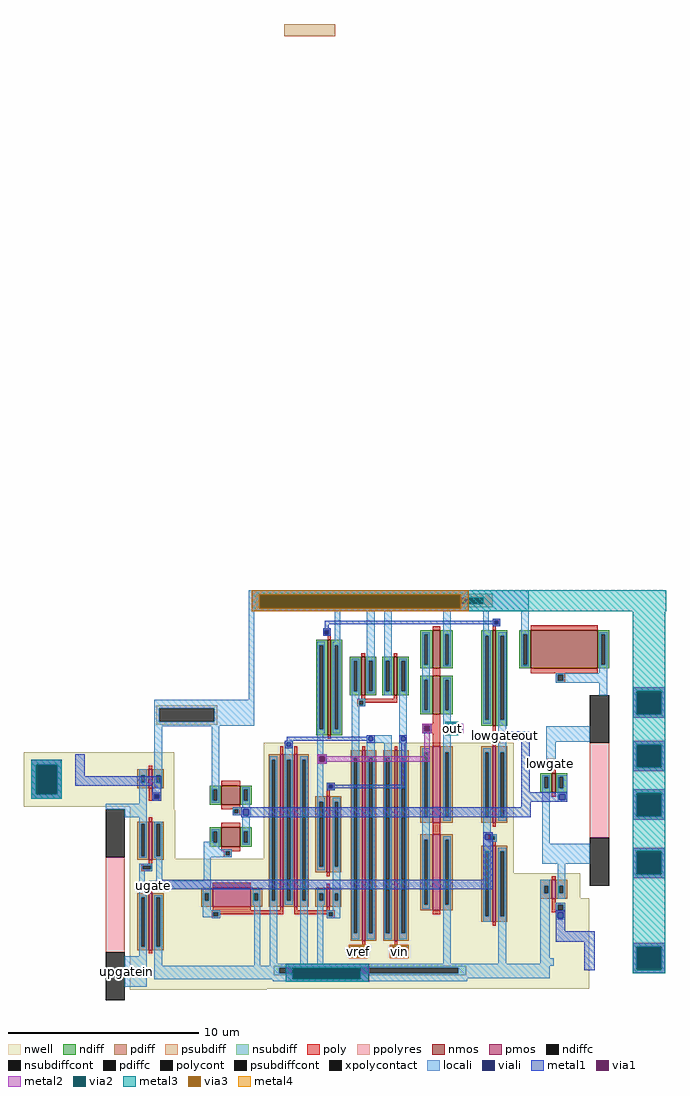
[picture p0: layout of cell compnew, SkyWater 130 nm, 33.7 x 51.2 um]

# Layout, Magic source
magic
tech sky130A
<< nwell >>
rect -586 1980 204 2265
rect -31 1960 204 1980
rect -31 1705 209 1960
rect 674 1705 1984 2315
rect -31 1630 1984 1705
rect -31 1500 2334 1630
rect -31 1025 2379 1500
rect -31 1020 689 1025
<< nmos >>
rect 1009 2355 1024 2855
rect 1184 2565 1204 2765
rect 1354 2565 1374 2765
rect 1559 2705 1599 2905
rect 1559 2465 1599 2665
rect 1874 2405 1889 2905
rect 2074 2705 2424 2905
rect 449 1990 549 2090
rect 449 1770 549 1870
rect 2184 2055 2204 2155
<< pmos >>
rect 69 2075 89 2175
rect 69 1700 89 1900
rect 69 1225 89 1525
rect 404 1455 604 1555
rect 759 1455 774 2255
rect 834 1455 849 2255
rect 1004 1635 1019 2035
rect 1004 1455 1019 1555
rect 1189 1275 1204 2275
rect 1359 1275 1374 2275
rect 1559 1895 1599 2295
rect 1874 1895 1889 2295
rect 1559 1435 1599 1835
rect 1874 1375 1889 1775
rect 2184 1495 2204 1595
<< ndiff >>
rect 1494 2885 1559 2905
rect 949 2825 1009 2855
rect 949 2385 964 2825
rect 984 2385 1009 2825
rect 949 2355 1009 2385
rect 1024 2825 1084 2855
rect 1024 2385 1044 2825
rect 1064 2385 1084 2825
rect 1124 2745 1184 2765
rect 1124 2585 1144 2745
rect 1164 2585 1184 2745
rect 1124 2565 1184 2585
rect 1204 2745 1264 2765
rect 1204 2585 1224 2745
rect 1244 2585 1264 2745
rect 1204 2565 1264 2585
rect 1294 2745 1354 2765
rect 1294 2585 1314 2745
rect 1334 2585 1354 2745
rect 1294 2565 1354 2585
rect 1374 2745 1434 2765
rect 1374 2585 1394 2745
rect 1414 2585 1434 2745
rect 1494 2725 1514 2885
rect 1534 2725 1559 2885
rect 1494 2705 1559 2725
rect 1599 2885 1664 2905
rect 1599 2725 1624 2885
rect 1644 2725 1664 2885
rect 1599 2705 1664 2725
rect 1814 2875 1874 2905
rect 1374 2565 1434 2585
rect 1494 2645 1559 2665
rect 1494 2485 1514 2645
rect 1534 2485 1559 2645
rect 1494 2465 1559 2485
rect 1599 2645 1664 2665
rect 1599 2485 1624 2645
rect 1644 2485 1664 2645
rect 1599 2465 1664 2485
rect 1024 2355 1084 2385
rect 1814 2435 1834 2875
rect 1854 2435 1874 2875
rect 1814 2405 1874 2435
rect 1889 2875 1949 2905
rect 1889 2435 1914 2875
rect 1934 2435 1949 2875
rect 2014 2885 2074 2905
rect 2014 2725 2034 2885
rect 2054 2725 2074 2885
rect 2014 2705 2074 2725
rect 2424 2885 2484 2905
rect 2424 2725 2444 2885
rect 2464 2725 2484 2885
rect 2424 2705 2484 2725
rect 1889 2405 1949 2435
rect 389 2070 449 2090
rect 389 2010 409 2070
rect 429 2010 449 2070
rect 389 1990 449 2010
rect 549 2070 609 2090
rect 549 2010 569 2070
rect 589 2010 609 2070
rect 549 1990 609 2010
rect 389 1850 449 1870
rect 389 1790 409 1850
rect 429 1790 449 1850
rect 389 1770 449 1790
rect 549 1850 609 1870
rect 549 1790 569 1850
rect 589 1790 609 1850
rect 549 1770 609 1790
rect 2124 2135 2184 2155
rect 2124 2075 2144 2135
rect 2164 2075 2184 2135
rect 2124 2055 2184 2075
rect 2204 2135 2264 2155
rect 2204 2075 2224 2135
rect 2244 2075 2264 2135
rect 2204 2055 2264 2075
<< pdiff >>
rect 699 2225 759 2255
rect 9 2145 69 2175
rect 9 2105 29 2145
rect 49 2105 69 2145
rect 9 2075 69 2105
rect 89 2145 149 2175
rect 89 2105 109 2145
rect 129 2105 149 2145
rect 89 2075 149 2105
rect 9 1890 69 1900
rect 9 1720 29 1890
rect 49 1720 69 1890
rect 9 1700 69 1720
rect 89 1890 149 1900
rect 89 1720 109 1890
rect 129 1720 149 1890
rect 89 1700 149 1720
rect 344 1525 404 1555
rect 9 1505 69 1525
rect 9 1245 29 1505
rect 49 1245 69 1505
rect 9 1225 69 1245
rect 89 1505 149 1525
rect 89 1245 109 1505
rect 129 1245 149 1505
rect 344 1485 364 1525
rect 384 1485 404 1525
rect 344 1455 404 1485
rect 604 1525 664 1555
rect 604 1485 624 1525
rect 644 1485 664 1525
rect 604 1455 664 1485
rect 699 1485 714 2225
rect 734 1485 759 2225
rect 699 1455 759 1485
rect 774 2225 834 2255
rect 774 1485 794 2225
rect 814 1485 834 2225
rect 774 1455 834 1485
rect 849 2225 909 2255
rect 849 1485 874 2225
rect 894 1485 909 2225
rect 1129 2235 1189 2275
rect 944 2005 1004 2035
rect 944 1665 964 2005
rect 984 1665 1004 2005
rect 944 1635 1004 1665
rect 1019 2005 1079 2035
rect 1019 1665 1044 2005
rect 1064 1665 1079 2005
rect 1019 1635 1079 1665
rect 849 1455 909 1485
rect 944 1525 1004 1555
rect 944 1485 964 1525
rect 984 1485 1004 1525
rect 944 1455 1004 1485
rect 1019 1525 1079 1555
rect 1019 1485 1044 1525
rect 1064 1485 1079 1525
rect 1019 1455 1079 1485
rect 1129 1315 1144 2235
rect 1164 1315 1189 2235
rect 1129 1275 1189 1315
rect 1204 2235 1264 2275
rect 1204 1315 1224 2235
rect 1244 1315 1264 2235
rect 1204 1275 1264 1315
rect 1299 2235 1359 2275
rect 1299 1315 1314 2235
rect 1334 1315 1359 2235
rect 1299 1275 1359 1315
rect 1374 2235 1434 2275
rect 1374 1315 1394 2235
rect 1414 1315 1434 2235
rect 1494 2265 1559 2295
rect 1494 1925 1514 2265
rect 1534 1925 1559 2265
rect 1494 1895 1559 1925
rect 1599 2265 1664 2295
rect 1599 1925 1624 2265
rect 1644 1925 1664 2265
rect 1599 1895 1664 1925
rect 1814 2265 1874 2295
rect 1814 1925 1834 2265
rect 1854 1925 1874 2265
rect 1814 1895 1874 1925
rect 1889 2265 1949 2295
rect 1889 1925 1914 2265
rect 1934 1925 1949 2265
rect 1889 1895 1949 1925
rect 1494 1805 1559 1835
rect 1494 1465 1514 1805
rect 1534 1465 1559 1805
rect 1494 1435 1559 1465
rect 1599 1805 1664 1835
rect 1599 1465 1624 1805
rect 1644 1465 1664 1805
rect 1599 1435 1664 1465
rect 1814 1745 1874 1775
rect 1814 1405 1834 1745
rect 1854 1405 1874 1745
rect 1814 1375 1874 1405
rect 1889 1745 1949 1775
rect 1889 1405 1914 1745
rect 1934 1405 1949 1745
rect 2124 1565 2184 1595
rect 2124 1525 2144 1565
rect 2164 1525 2184 1565
rect 2124 1495 2184 1525
rect 2204 1565 2264 1595
rect 2204 1525 2224 1565
rect 2244 1525 2264 1565
rect 2204 1495 2264 1525
rect 1889 1375 1949 1405
rect 1374 1275 1434 1315
rect 89 1225 149 1245
<< ndiffc >>
rect 964 2385 984 2825
rect 1044 2385 1064 2825
rect 1144 2585 1164 2745
rect 1224 2585 1244 2745
rect 1314 2585 1334 2745
rect 1394 2585 1414 2745
rect 1514 2725 1534 2885
rect 1624 2725 1644 2885
rect 1514 2485 1534 2645
rect 1624 2485 1644 2645
rect 1834 2435 1854 2875
rect 1914 2435 1934 2875
rect 2034 2725 2054 2885
rect 2444 2725 2464 2885
rect 409 2010 429 2070
rect 569 2010 589 2070
rect 409 1790 429 1850
rect 569 1790 589 1850
rect 2144 2075 2164 2135
rect 2224 2075 2244 2135
<< pdiffc >>
rect 29 2105 49 2145
rect 109 2105 129 2145
rect 29 1720 49 1890
rect 109 1720 129 1890
rect 29 1245 49 1505
rect 109 1245 129 1505
rect 364 1485 384 1525
rect 624 1485 644 1525
rect 714 1485 734 2225
rect 794 1485 814 2225
rect 874 1485 894 2225
rect 964 1665 984 2005
rect 1044 1665 1064 2005
rect 964 1485 984 1525
rect 1044 1485 1064 1525
rect 1144 1315 1164 2235
rect 1224 1315 1244 2235
rect 1314 1315 1334 2235
rect 1394 1315 1414 2235
rect 1514 1925 1534 2265
rect 1624 1925 1644 2265
rect 1834 1925 1854 2265
rect 1914 1925 1934 2265
rect 1514 1465 1534 1805
rect 1624 1465 1644 1805
rect 1834 1405 1854 1745
rect 1914 1405 1934 1745
rect 2144 1525 2164 1565
rect 2224 1525 2244 1565
<< psubdiff >>
rect 779 6020 1049 6085
rect 634 3075 1874 3095
rect 634 3045 684 3075
rect 1824 3045 1874 3075
rect 634 3025 1874 3045
rect 109 2495 429 2510
rect 109 2425 124 2495
rect 414 2425 429 2495
rect 109 2410 429 2425
rect 2609 2585 2779 2605
rect 2609 2465 2629 2585
rect 2759 2465 2779 2585
rect 2609 2445 2779 2465
rect 2609 2305 2779 2325
rect 2609 2185 2629 2305
rect 2759 2185 2779 2305
rect 2609 2165 2779 2185
rect 2609 2050 2779 2070
rect 2609 1930 2629 2050
rect 2759 1930 2779 2050
rect 2609 1910 2779 1930
rect 2609 1745 2779 1765
rect 2609 1625 2629 1745
rect 2759 1625 2779 1745
rect 2609 1605 2779 1625
rect 2609 1245 2779 1265
rect 2609 1125 2629 1245
rect 2759 1125 2779 1245
rect 2609 1105 2779 1125
<< nsubdiff >>
rect -546 2200 -386 2225
rect -546 2045 -521 2200
rect -411 2045 -386 2200
rect -546 2020 -386 2045
rect 724 1135 1734 1145
rect 724 1105 754 1135
rect 1694 1105 1734 1135
rect 724 1095 1734 1105
<< psubdiffcont >>
rect 684 3045 1824 3075
rect 124 2425 414 2495
rect 2629 2465 2759 2585
rect 2629 2185 2759 2305
rect 2629 1930 2759 2050
rect 2629 1625 2759 1745
rect 2629 1125 2759 1245
<< nsubdiffcont >>
rect -521 2045 -411 2200
rect 754 1105 1694 1135
<< poly >>
rect 1874 2955 1914 2965
rect 1874 2935 1884 2955
rect 1904 2935 1914 2955
rect 1874 2925 1914 2935
rect 984 2905 1024 2915
rect 1559 2905 1599 2925
rect 1874 2905 1889 2925
rect 2074 2905 2424 2930
rect 984 2885 994 2905
rect 1014 2885 1024 2905
rect 984 2875 1024 2885
rect 1009 2855 1024 2875
rect 1184 2765 1204 2785
rect 1354 2765 1374 2785
rect 1559 2665 1599 2705
rect 1184 2545 1204 2565
rect 1354 2545 1374 2565
rect 1164 2535 1374 2545
rect 1164 2515 1174 2535
rect 1194 2525 1374 2535
rect 1194 2515 1204 2525
rect 1164 2505 1204 2515
rect 1559 2415 1599 2465
rect 1504 2405 1599 2415
rect 2074 2680 2424 2705
rect 2204 2670 2254 2680
rect 2204 2640 2214 2670
rect 2244 2640 2254 2670
rect 2204 2630 2254 2640
rect 1504 2375 1514 2405
rect 1544 2375 1599 2405
rect 1504 2365 1599 2375
rect 1009 2335 1024 2355
rect 1559 2295 1599 2365
rect 1874 2355 1889 2405
rect 1874 2345 1914 2355
rect 1874 2325 1884 2345
rect 1904 2325 1914 2345
rect 1874 2315 1914 2325
rect 1874 2295 1889 2315
rect 759 2255 774 2295
rect 834 2255 849 2295
rect 1189 2275 1204 2295
rect 1359 2275 1374 2295
rect 69 2175 89 2195
rect 449 2090 549 2115
rect 69 2055 89 2075
rect 69 2045 134 2055
rect 69 2020 99 2045
rect 124 2020 134 2045
rect 69 2010 134 2020
rect 449 1965 549 1990
rect 509 1945 519 1965
rect 539 1945 549 1965
rect 509 1935 549 1945
rect 69 1900 89 1925
rect 449 1870 549 1895
rect 449 1745 549 1770
rect 464 1725 474 1745
rect 494 1725 504 1745
rect 464 1715 504 1725
rect 69 1680 89 1700
rect 29 1670 89 1680
rect 29 1650 39 1670
rect 79 1650 89 1670
rect 29 1640 89 1650
rect 69 1580 119 1590
rect 69 1550 79 1580
rect 109 1550 119 1580
rect 404 1555 604 1580
rect 69 1540 119 1550
rect 69 1525 89 1540
rect 1004 2095 1044 2105
rect 1004 2075 1014 2095
rect 1034 2075 1044 2095
rect 1004 2065 1044 2075
rect 1004 2035 1019 2065
rect 1004 1615 1019 1635
rect 1004 1555 1019 1575
rect 404 1435 604 1455
rect 759 1435 774 1455
rect 399 1425 774 1435
rect 399 1405 409 1425
rect 434 1415 774 1425
rect 834 1435 849 1455
rect 1004 1435 1019 1455
rect 834 1425 1044 1435
rect 834 1415 1014 1425
rect 434 1405 444 1415
rect 399 1395 444 1405
rect 1004 1405 1014 1415
rect 1034 1405 1044 1425
rect 1004 1395 1044 1405
rect 2154 2220 2204 2230
rect 2154 2190 2164 2220
rect 2194 2190 2204 2220
rect 2154 2180 2204 2190
rect 2184 2155 2204 2180
rect 2184 2030 2204 2055
rect 1559 1835 1599 1895
rect 1874 1875 1889 1895
rect 1854 1825 1894 1835
rect 1854 1805 1864 1825
rect 1884 1805 1894 1825
rect 1854 1795 1894 1805
rect 1874 1775 1889 1795
rect 1559 1415 1599 1435
rect 2184 1595 2204 1615
rect 2184 1475 2204 1495
rect 2184 1465 2254 1475
rect 2184 1435 2214 1465
rect 2244 1435 2254 1465
rect 2184 1425 2254 1435
rect 1874 1355 1889 1375
rect 1189 1255 1204 1275
rect 1359 1255 1374 1275
rect 1119 1245 1219 1255
rect 69 1210 89 1225
rect 1119 1195 1129 1245
rect 1209 1195 1219 1245
rect 1119 1185 1219 1195
rect 1334 1245 1434 1255
rect 1334 1195 1344 1245
rect 1424 1195 1434 1245
rect 1334 1185 1434 1195
<< polycont >>
rect 1884 2935 1904 2955
rect 994 2885 1014 2905
rect 1174 2515 1194 2535
rect 2214 2640 2244 2670
rect 1514 2375 1544 2405
rect 1884 2325 1904 2345
rect 99 2020 124 2045
rect 519 1945 539 1965
rect 474 1725 494 1745
rect 39 1650 79 1670
rect 79 1550 109 1580
rect 1014 2075 1034 2095
rect 409 1405 434 1425
rect 1014 1405 1034 1425
rect 2164 2190 2194 2220
rect 1864 1805 1884 1825
rect 2214 1435 2244 1465
rect 1129 1195 1209 1245
rect 1344 1195 1424 1245
<< xpolycontact >>
rect 2384 2315 2484 2565
rect -156 1715 -56 1965
rect 2384 1565 2484 1815
rect -156 965 -56 1215
<< ppolyres >>
rect -156 1215 -56 1715
rect 2384 1815 2484 2315
<< locali >>
rect 594 3090 2064 3115
rect 594 3020 650 3090
rect 1705 3075 2064 3090
rect 1824 3045 2064 3075
rect 1705 3020 2064 3045
rect 594 3005 2064 3020
rect 594 2540 624 3005
rect 984 2905 1024 2915
rect 984 2885 994 2905
rect 1014 2885 1024 2905
rect 984 2875 1024 2885
rect 1044 2845 1074 3005
rect 99 2495 624 2540
rect 99 2425 124 2495
rect 414 2425 624 2495
rect 99 2405 624 2425
rect 954 2825 994 2845
rect 99 2400 439 2405
rect -546 2200 -386 2225
rect -546 2045 -521 2200
rect -411 2045 -386 2200
rect -546 2020 -386 2045
rect 19 2145 59 2175
rect 19 2105 29 2145
rect 49 2105 59 2145
rect 19 1995 59 2105
rect 99 2145 139 2400
rect 99 2105 109 2145
rect 129 2105 139 2145
rect 99 2085 139 2105
rect 109 2075 139 2085
rect 399 2070 439 2400
rect 954 2385 964 2825
rect 984 2385 994 2825
rect 954 2365 994 2385
rect 1034 2825 1074 2845
rect 1034 2385 1044 2825
rect 1064 2385 1074 2825
rect 1034 2365 1074 2385
rect 1134 2745 1174 2755
rect 1134 2585 1144 2745
rect 1164 2585 1174 2745
rect 1134 2545 1174 2585
rect 1214 2745 1254 3005
rect 1214 2585 1224 2745
rect 1244 2585 1254 2745
rect 1214 2575 1254 2585
rect 1304 2745 1344 3005
rect 1504 2885 1544 2895
rect 1304 2585 1314 2745
rect 1334 2585 1344 2745
rect 1304 2565 1344 2585
rect 1384 2745 1424 2755
rect 1384 2585 1394 2745
rect 1414 2585 1424 2745
rect 1134 2535 1204 2545
rect 1134 2515 1174 2535
rect 1194 2515 1204 2535
rect 1134 2505 1204 2515
rect 784 2315 824 2325
rect 784 2295 794 2315
rect 814 2295 824 2315
rect 704 2225 744 2245
rect 89 2045 134 2055
rect 89 2020 99 2045
rect 124 2020 134 2045
rect 89 2010 134 2020
rect 399 2010 409 2070
rect 429 2010 439 2070
rect 399 2000 439 2010
rect 559 2070 599 2080
rect 559 2010 569 2070
rect 589 2010 599 2070
rect -156 1965 59 1995
rect 559 1975 599 2010
rect -56 1925 59 1965
rect 509 1965 604 1975
rect 509 1945 519 1965
rect 539 1945 564 1965
rect 509 1935 564 1945
rect 594 1935 604 1965
rect 554 1925 604 1935
rect 19 1890 59 1925
rect 19 1720 29 1890
rect 49 1720 59 1890
rect 19 1710 59 1720
rect 99 1890 139 1900
rect 99 1720 109 1890
rect 129 1720 139 1890
rect 399 1850 439 1860
rect 399 1795 409 1850
rect 99 1710 139 1720
rect 19 1670 89 1680
rect 19 1650 39 1670
rect 79 1650 89 1670
rect 19 1640 89 1650
rect 19 1515 49 1640
rect 109 1595 139 1710
rect 359 1790 409 1795
rect 429 1790 439 1850
rect 359 1755 439 1790
rect 559 1850 599 1925
rect 559 1790 569 1850
rect 589 1790 599 1850
rect 559 1780 599 1790
rect 359 1745 504 1755
rect 359 1725 474 1745
rect 494 1725 504 1745
rect 359 1715 504 1725
rect 109 1590 189 1595
rect 359 1590 394 1715
rect 69 1585 394 1590
rect 69 1580 149 1585
rect 69 1550 79 1580
rect 109 1555 149 1580
rect 179 1555 394 1585
rect 109 1550 394 1555
rect 69 1545 394 1550
rect 69 1540 139 1545
rect 354 1525 394 1545
rect 19 1505 59 1515
rect 19 1245 29 1505
rect 49 1245 59 1505
rect 19 1195 59 1245
rect -56 1035 59 1195
rect 99 1505 139 1515
rect 99 1245 109 1505
rect 129 1245 139 1505
rect 354 1485 364 1525
rect 384 1485 394 1525
rect 354 1435 394 1485
rect 614 1525 654 1545
rect 614 1485 624 1525
rect 644 1485 654 1525
rect 614 1465 654 1485
rect 354 1425 444 1435
rect 354 1405 409 1425
rect 434 1405 444 1425
rect 354 1400 444 1405
rect 399 1395 444 1400
rect 99 1145 139 1245
rect 624 1145 654 1465
rect 704 1485 714 2225
rect 734 1485 744 2225
rect 704 1155 744 1485
rect 784 2225 824 2295
rect 954 2255 984 2365
rect 954 2245 1004 2255
rect 784 1485 794 2225
rect 814 1485 824 2225
rect 784 1465 824 1485
rect 864 2225 904 2245
rect 864 1485 874 2225
rect 894 1485 904 2225
rect 954 2215 964 2245
rect 994 2215 1004 2245
rect 954 2205 1004 2215
rect 1134 2235 1174 2505
rect 954 2025 984 2205
rect 1004 2095 1044 2105
rect 1004 2075 1014 2095
rect 1034 2075 1044 2095
rect 1004 2065 1044 2075
rect 954 2005 994 2025
rect 954 1665 964 2005
rect 984 1665 994 2005
rect 954 1645 994 1665
rect 1034 2005 1074 2025
rect 1034 1665 1044 2005
rect 1064 1665 1074 2005
rect 864 1155 904 1485
rect 954 1525 994 1545
rect 954 1485 964 1525
rect 984 1485 994 1525
rect 954 1465 994 1485
rect 1034 1525 1074 1665
rect 1034 1485 1044 1525
rect 1064 1485 1074 1525
rect 954 1155 984 1465
rect 1034 1435 1074 1485
rect 1004 1425 1074 1435
rect 1004 1405 1014 1425
rect 1034 1405 1074 1425
rect 1004 1395 1074 1405
rect 1134 1315 1144 2235
rect 1164 1315 1174 2235
rect 1134 1285 1174 1315
rect 1214 2345 1344 2355
rect 1214 2325 1224 2345
rect 1244 2325 1344 2345
rect 1214 2315 1344 2325
rect 1214 2235 1254 2315
rect 1214 1315 1224 2235
rect 1244 1315 1254 2235
rect 1214 1285 1254 1315
rect 1304 2235 1344 2315
rect 1304 1315 1314 2235
rect 1334 1315 1344 2235
rect 1304 1285 1344 1315
rect 1384 2345 1424 2585
rect 1504 2725 1514 2885
rect 1534 2725 1544 2885
rect 1504 2645 1544 2725
rect 1614 2885 1654 3005
rect 1614 2725 1624 2885
rect 1644 2725 1654 2885
rect 1614 2715 1654 2725
rect 1824 2905 1854 3005
rect 1874 2955 1914 2965
rect 1874 2935 1884 2955
rect 1904 2935 1914 2955
rect 1874 2925 1914 2935
rect 1824 2875 1864 2905
rect 1504 2485 1514 2645
rect 1534 2485 1544 2645
rect 1504 2475 1544 2485
rect 1614 2645 1654 2655
rect 1614 2485 1624 2645
rect 1644 2485 1654 2645
rect 1614 2425 1654 2485
rect 1824 2435 1834 2875
rect 1854 2435 1864 2875
rect 1614 2415 1694 2425
rect 1824 2415 1864 2435
rect 1904 2875 1944 2895
rect 1904 2435 1914 2875
rect 1934 2435 1944 2875
rect 2024 2885 2064 3005
rect 2024 2725 2034 2885
rect 2054 2725 2064 2885
rect 2024 2715 2064 2725
rect 2434 2885 2474 2895
rect 2434 2725 2444 2885
rect 2464 2725 2474 2885
rect 2434 2680 2474 2725
rect 2204 2670 2474 2680
rect 2204 2640 2214 2670
rect 2244 2640 2474 2670
rect 2204 2630 2474 2640
rect 2434 2565 2474 2630
rect 2609 2585 2779 2605
rect 1504 2405 1554 2415
rect 1504 2375 1514 2405
rect 1544 2375 1554 2405
rect 1504 2365 1554 2375
rect 1614 2365 1634 2415
rect 1684 2365 1694 2415
rect 1384 2325 1394 2345
rect 1414 2325 1424 2345
rect 1384 2235 1424 2325
rect 1614 2355 1694 2365
rect 1904 2375 1944 2435
rect 1904 2365 1964 2375
rect 1904 2355 1924 2365
rect 1384 1315 1394 2235
rect 1414 1315 1424 2235
rect 1504 2265 1544 2285
rect 1504 1925 1514 2265
rect 1534 1925 1544 2265
rect 1504 1805 1544 1925
rect 1614 2265 1654 2355
rect 1874 2345 1924 2355
rect 1874 2325 1884 2345
rect 1904 2335 1924 2345
rect 1954 2335 1964 2365
rect 1904 2325 1964 2335
rect 1874 2315 1944 2325
rect 1614 1925 1624 2265
rect 1644 1925 1654 2265
rect 1614 1905 1654 1925
rect 1824 2265 1864 2285
rect 1824 1925 1834 2265
rect 1854 1925 1864 2265
rect 1824 1845 1864 1925
rect 1904 2265 1944 2315
rect 1904 1925 1914 2265
rect 1934 1925 1944 2265
rect 2154 2320 2384 2400
rect 2154 2220 2204 2320
rect 2609 2465 2629 2585
rect 2759 2465 2779 2585
rect 2609 2445 2779 2465
rect 2154 2190 2164 2220
rect 2194 2190 2204 2220
rect 2154 2180 2204 2190
rect 2609 2305 2779 2325
rect 2609 2185 2629 2305
rect 2759 2185 2779 2305
rect 2609 2165 2779 2185
rect 1904 1905 1944 1925
rect 2134 2135 2174 2145
rect 2134 2075 2144 2135
rect 2164 2075 2174 2135
rect 1824 1835 1874 1845
rect 1504 1465 1514 1805
rect 1534 1465 1544 1805
rect 1504 1445 1544 1465
rect 1614 1805 1654 1825
rect 1614 1465 1624 1805
rect 1644 1465 1654 1805
rect 1384 1285 1424 1315
rect 1119 1245 1219 1255
rect 1119 1195 1129 1245
rect 1209 1195 1219 1245
rect 1119 1185 1219 1195
rect 1334 1245 1434 1255
rect 1334 1195 1344 1245
rect 1424 1195 1434 1245
rect 1334 1185 1434 1195
rect 1614 1155 1654 1465
rect 1824 1805 1834 1835
rect 1864 1825 1894 1835
rect 1884 1805 1894 1825
rect 1824 1795 1894 1805
rect 1824 1745 1864 1795
rect 2134 1785 2174 2075
rect 2214 2135 2264 2145
rect 2214 2075 2224 2135
rect 2244 2075 2264 2135
rect 2214 2045 2264 2075
rect 2214 2015 2224 2045
rect 2254 2015 2264 2045
rect 2214 2005 2264 2015
rect 2609 2050 2779 2070
rect 2609 1930 2629 2050
rect 2759 1930 2779 2050
rect 2609 1910 2779 1930
rect 1824 1405 1834 1745
rect 1854 1405 1864 1745
rect 1824 1375 1864 1405
rect 1904 1745 1944 1765
rect 1904 1405 1914 1745
rect 1934 1405 1944 1745
rect 2134 1680 2384 1785
rect 1904 1155 1944 1405
rect 2124 1565 2174 1595
rect 2124 1525 2144 1565
rect 2164 1525 2174 1565
rect 2124 1185 2174 1525
rect 2214 1565 2254 1680
rect 2609 1745 2779 1765
rect 2609 1625 2629 1745
rect 2759 1625 2779 1745
rect 2609 1605 2779 1625
rect 2214 1525 2224 1565
rect 2244 1525 2254 1565
rect 2214 1495 2254 1525
rect 2204 1465 2254 1475
rect 2204 1435 2214 1465
rect 2244 1435 2254 1465
rect 2204 1425 2254 1435
rect 2204 1395 2214 1425
rect 2244 1395 2254 1425
rect 2204 1385 2254 1395
rect 2609 1245 2779 1265
rect 2124 1155 2194 1185
rect 704 1145 2194 1155
rect 99 1135 2174 1145
rect 99 1105 754 1135
rect 1694 1105 2174 1135
rect 2609 1125 2629 1245
rect 2759 1125 2779 1245
rect 2609 1105 2779 1125
rect 99 1075 824 1105
rect 1180 1080 2174 1105
rect 1180 1075 1739 1080
rect 721 1063 1739 1075
<< viali >>
rect 650 3075 1705 3090
rect 650 3045 684 3075
rect 684 3045 1705 3075
rect 650 3020 1705 3045
rect 994 2885 1014 2905
rect -521 2045 -411 2200
rect 794 2295 814 2315
rect 99 2020 124 2045
rect 564 1935 594 1965
rect 149 1555 179 1585
rect 964 2215 994 2245
rect 1014 2075 1034 2095
rect 1224 2325 1244 2345
rect 1884 2935 1904 2955
rect 1514 2375 1544 2405
rect 1634 2365 1684 2415
rect 1394 2325 1414 2345
rect 1924 2335 1954 2365
rect 2629 2465 2759 2585
rect 2629 2185 2759 2305
rect 1129 1195 1209 1245
rect 1344 1195 1424 1245
rect 1834 1805 1864 1835
rect 2224 2015 2254 2045
rect 2629 1930 2759 2050
rect 2629 1625 2759 1745
rect 2214 1395 2244 1425
rect 824 1105 1180 1135
rect 2629 1125 2759 1245
rect 824 1075 1180 1105
<< metal1 >>
rect 610 3090 1745 3115
rect 610 3020 650 3090
rect 1705 3020 1745 3090
rect 610 3005 1745 3020
rect 1874 2955 1914 2965
rect 994 2935 1884 2955
rect 1904 2935 1914 2955
rect 994 2915 1014 2935
rect 1874 2925 1914 2935
rect 984 2905 1024 2915
rect 984 2885 994 2905
rect 1014 2885 1024 2905
rect 984 2875 1024 2885
rect 2609 2585 2779 2605
rect 2609 2465 2629 2585
rect 2759 2465 2779 2585
rect 2609 2445 2779 2465
rect 1624 2415 1694 2425
rect 1504 2405 1554 2415
rect 1504 2375 1514 2405
rect 1544 2375 1554 2405
rect 1504 2365 1554 2375
rect 1624 2365 1634 2415
rect 1684 2365 1694 2415
rect 1624 2355 1694 2365
rect 1914 2365 2069 2375
rect 1214 2345 1254 2355
rect 794 2325 1224 2345
rect 1244 2325 1254 2345
rect 784 2315 824 2325
rect 1214 2315 1254 2325
rect 1384 2345 1424 2355
rect 1384 2325 1394 2345
rect 1414 2325 1424 2345
rect 1914 2335 1924 2365
rect 1954 2335 2069 2365
rect 1914 2325 2069 2335
rect 1384 2315 1424 2325
rect 784 2295 794 2315
rect 814 2295 824 2315
rect 784 2285 824 2295
rect -546 2200 -386 2225
rect -546 2045 -521 2200
rect -411 2045 -386 2200
rect -316 2140 -266 2255
rect 954 2245 1004 2255
rect 954 2215 964 2245
rect 994 2215 1004 2245
rect 954 2205 1004 2215
rect -316 2090 134 2140
rect -546 2020 -386 2045
rect 89 2045 134 2090
rect 1004 2095 1044 2105
rect 1394 2095 1414 2315
rect 1004 2075 1014 2095
rect 1034 2075 1414 2095
rect 1004 2065 1044 2075
rect 89 2020 99 2045
rect 124 2020 134 2045
rect 89 2010 134 2020
rect 2024 2055 2069 2325
rect 2609 2305 2779 2325
rect 2609 2185 2629 2305
rect 2759 2185 2779 2305
rect 2609 2165 2779 2185
rect 2024 2045 2264 2055
rect 2024 2015 2224 2045
rect 2254 2015 2264 2045
rect 2024 2005 2264 2015
rect 2609 2050 2779 2070
rect 2024 1975 2074 2005
rect 554 1965 2074 1975
rect 554 1935 564 1965
rect 594 1935 2074 1965
rect 554 1925 2074 1935
rect 2609 1930 2629 2050
rect 2759 1930 2779 2050
rect 2609 1910 2779 1930
rect 1824 1835 1874 1845
rect 1824 1805 1834 1835
rect 1864 1805 1874 1835
rect 1824 1595 1874 1805
rect 2609 1745 2779 1765
rect 2609 1625 2629 1745
rect 2759 1625 2779 1745
rect 2609 1605 2779 1625
rect 139 1585 1874 1595
rect 139 1555 149 1585
rect 179 1555 1874 1585
rect 139 1545 1874 1555
rect 2204 1425 2254 1435
rect 2204 1395 2214 1425
rect 2244 1395 2254 1425
rect 2204 1325 2254 1395
rect 2204 1270 2409 1325
rect 1119 1245 1219 1255
rect 1119 1195 1129 1245
rect 1209 1195 1219 1245
rect 1119 1185 1219 1195
rect 1334 1245 1434 1255
rect 1334 1195 1344 1245
rect 1424 1195 1434 1245
rect 1334 1185 1434 1195
rect 789 1135 1225 1155
rect 789 1075 824 1135
rect 1180 1075 1225 1135
rect 2354 1120 2409 1270
rect 2609 1245 2779 1265
rect 2609 1125 2629 1245
rect 2759 1125 2779 1245
rect 2609 1105 2779 1125
rect 789 1060 1225 1075
<< via1 >>
rect 650 3020 1705 3090
rect 2629 2465 2759 2585
rect 1514 2375 1544 2405
rect 1634 2365 1684 2415
rect -521 2045 -411 2200
rect 964 2215 994 2245
rect 2629 2185 2759 2305
rect 2629 1930 2759 2050
rect 2629 1625 2759 1745
rect 1129 1195 1209 1245
rect 1344 1195 1424 1245
rect 824 1075 1180 1135
rect 2629 1125 2759 1245
<< metal2 >>
rect 610 3090 1745 3115
rect 610 3020 649 3090
rect 1705 3020 1745 3090
rect 610 3005 1745 3020
rect 2609 2585 2779 2605
rect 2609 2465 2629 2585
rect 2759 2465 2779 2585
rect 2609 2445 2779 2465
rect 1624 2415 1694 2425
rect 1504 2405 1554 2415
rect 1504 2375 1514 2405
rect 1544 2375 1554 2405
rect 1504 2365 1554 2375
rect 1624 2365 1634 2415
rect 1684 2365 1719 2415
rect 954 2245 1004 2255
rect 1514 2245 1544 2365
rect 1624 2355 1694 2365
rect -546 2200 -386 2225
rect 954 2215 964 2245
rect 994 2215 1544 2245
rect 2609 2305 2779 2325
rect 954 2205 1004 2215
rect -546 2045 -521 2200
rect -411 2045 -386 2200
rect 2609 2185 2629 2305
rect 2759 2185 2779 2305
rect 2609 2165 2779 2185
rect -546 2020 -386 2045
rect 2609 2050 2779 2070
rect 2609 1930 2629 2050
rect 2759 1930 2779 2050
rect 2609 1910 2779 1930
rect 2609 1745 2779 1765
rect 2609 1625 2629 1745
rect 2759 1625 2779 1745
rect 2609 1605 2779 1625
rect 1119 1245 1219 1255
rect 1119 1195 1129 1245
rect 1209 1195 1219 1245
rect 1119 1185 1219 1195
rect 1334 1245 1434 1255
rect 1334 1195 1344 1245
rect 1424 1195 1434 1245
rect 1334 1185 1434 1195
rect 2609 1245 2779 1265
rect 789 1135 1225 1155
rect 789 1075 824 1135
rect 1180 1075 1225 1135
rect 2609 1125 2629 1245
rect 2759 1125 2779 1245
rect 2609 1105 2779 1125
rect 789 1060 1225 1075
<< via2 >>
rect 649 3020 650 3090
rect 650 3020 1705 3090
rect 2629 2465 2759 2585
rect 1634 2365 1684 2415
rect -521 2045 -411 2200
rect 2629 2185 2759 2305
rect 2629 1930 2759 2050
rect 2629 1625 2759 1745
rect 1129 1195 1209 1245
rect 1344 1195 1424 1245
rect 824 1075 1179 1135
rect 2629 1125 2759 1245
<< metal3 >>
rect 610 3090 2784 3115
rect 610 3020 649 3090
rect 1705 3020 2784 3090
rect 610 3005 2784 3020
rect 2609 2585 2779 3005
rect 2609 2465 2629 2585
rect 2759 2465 2779 2585
rect 1624 2415 1694 2425
rect 1624 2365 1634 2415
rect 1684 2365 1694 2415
rect 1624 2355 1694 2365
rect 2609 2305 2779 2465
rect -546 2200 -386 2225
rect -546 2045 -521 2200
rect -411 2045 -386 2200
rect -546 2020 -386 2045
rect 2609 2185 2629 2305
rect 2759 2185 2779 2305
rect 2609 2050 2779 2185
rect 2609 1930 2629 2050
rect 2759 1930 2779 2050
rect 2609 1745 2779 1930
rect 2609 1625 2629 1745
rect 2759 1625 2779 1745
rect 1119 1245 1219 1255
rect 1119 1195 1129 1245
rect 1209 1195 1219 1245
rect 1119 1185 1219 1195
rect 1334 1245 1434 1255
rect 1334 1195 1344 1245
rect 1424 1195 1434 1245
rect 1334 1185 1434 1195
rect 2609 1245 2779 1625
rect 789 1135 1224 1155
rect 789 1075 824 1135
rect 1179 1075 1224 1135
rect 2609 1125 2629 1245
rect 2759 1125 2779 1245
rect 2609 1105 2779 1125
rect 789 1060 1224 1075
<< via3 >>
rect 649 3020 1705 3090
rect 1129 1195 1209 1245
rect 1344 1195 1424 1245
<< metal4 >>
rect 609 3090 1749 3115
rect 609 3020 649 3090
rect 1705 3020 1749 3090
rect 609 3005 1749 3020
rect 1119 1245 1219 1255
rect 1119 1195 1129 1245
rect 1209 1195 1219 1245
rect 1119 1185 1219 1195
rect 1334 1245 1434 1255
rect 1334 1195 1344 1245
rect 1424 1195 1434 1245
rect 1334 1185 1434 1195
<< labels >>
rlabel locali 2154 2180 2204 2230 1 lowgate
rlabel locali 69 1540 119 1590 1 ugate
rlabel locali -61 1035 -36 1195 1 upgatein
rlabel metal1 1914 2325 1964 2375 1 lowgateout
rlabel metal4 1119 1185 1219 1255 1 vref
rlabel metal4 1334 1185 1434 1255 1 vin
rlabel metal3 1629 2360 1694 2420 1 out
<< end >>
